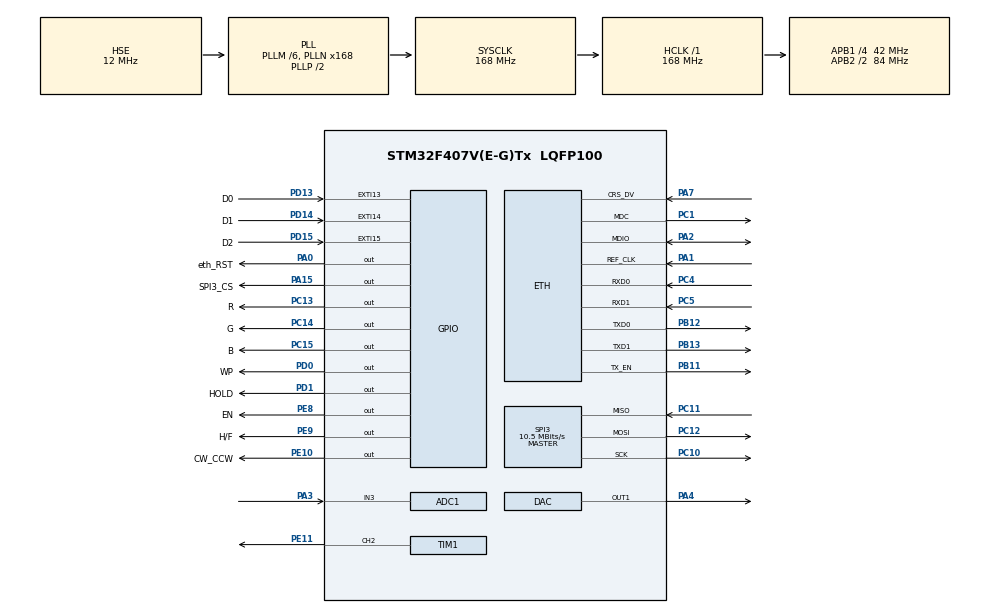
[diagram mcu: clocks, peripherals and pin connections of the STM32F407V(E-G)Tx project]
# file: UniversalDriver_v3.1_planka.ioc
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ADC1.Channel-0\#ChannelRegularConversion=ADC_CHANNEL_3
ADC1.NbrOfConversionFlag=1
ADC1.Rank-0\#ChannelRegularConversion=1
ADC1.SamplingTime-0\#ChannelRegularConversion=ADC_SAMPLETIME_3CYCLES
ADC1.master=1
ETH.MACAddr=44\:84\:23\:84\:44\:77
ETH.MediaInterface=ETH_MEDIA_INTERFACE_RMII
ETH.PhyAddress=0
ETH.RxMode=ETH_RXINTERRUPT_MODE
FREERTOS.Tasks01=mainTask,0,512,MainTask,Default,NULL,Dynamic,NULL,NULL;Motor_pool,0,256,motor_pool,Default,NULL,Dynamic,NULL,NULL;ledTask,0,128,LedTask,Default,NULL,Dynamic,NULL,NULL;MotorAction,0,256,motor_action,Default,NULL,Dynamic,NULL,NULL
LWIP.LWIP_DNS=1
LWIP.Version=v2.1.2_Cube
Mcu.Family=STM32F4
Mcu.Name=STM32F407V(E-G)Tx
Mcu.Package=LQFP100
NVIC.ETH_IRQn=true\:5\:0\:false\:false\:true\:true\:false\:true\:true
NVIC.EXTI15_10_IRQn=true\:5\:0\:false\:false\:true\:true\:true\:true\:true
NVIC.PriorityGroup=NVIC_PRIORITYGROUP_4
NVIC.TIM2_IRQn=true\:5\:0\:false\:false\:true\:true\:true\:true\:true
NVIC.TIM4_IRQn=true\:5\:0\:false\:false\:true\:true\:true\:true\:true
NVIC.TIM6_DAC_IRQn=true\:5\:0\:false\:false\:true\:true\:true\:true\:true
NVIC.TIM7_IRQn=true\:15\:0\:false\:false\:true\:false\:false\:true\:true
NVIC.TimeBase=TIM7_IRQn
NVIC.TimeBaseIP=TIM7
PA0-WKUP.GPIO_Label=eth_RST
PA0-WKUP.Signal=GPIO_Output
PA1.Mode=RMII
PA1.Signal=ETH_REF_CLK
PA13.Mode=Serial_Wire
PA13.Signal=SYS_JTMS-SWDIO
PA14.Mode=Serial_Wire
PA14.Signal=SYS_JTCK-SWCLK
PA15.GPIO_Label=SPI3_CS
PA15.Signal=GPIO_Output
PA2.Mode=RMII
PA2.Signal=ETH_MDIO
PA3.Signal=ADCx_IN3
PA4.Signal=COMP_DAC1_group
PA7.Mode=RMII
PA7.Signal=ETH_CRS_DV
PB11.Mode=RMII
PB11.Signal=ETH_TX_EN
PB12.Mode=RMII
PB12.Signal=ETH_TXD0
PB13.Mode=RMII
PB13.Signal=ETH_TXD1
PC1.Mode=RMII
PC1.Signal=ETH_MDC
PC10.Mode=Full_Duplex_Master
PC10.Signal=SPI3_SCK
PC11.Mode=Full_Duplex_Master
PC11.Signal=SPI3_MISO
PC12.Mode=Full_Duplex_Master
PC12.Signal=SPI3_MOSI
PC13-ANTI_TAMP.GPIO_Label=R
PC13-ANTI_TAMP.Signal=GPIO_Output
PC14-OSC32_IN.GPIO_Label=G
PC14-OSC32_IN.Signal=GPIO_Output
PC15-OSC32_OUT.GPIO_Label=B
PC15-OSC32_OUT.Signal=GPIO_Output
PC4.Mode=RMII
PC4.Signal=ETH_RXD0
PC5.Mode=RMII
PC5.Signal=ETH_RXD1
PD0.GPIO_Label=WP
PD0.Signal=GPIO_Output
PD1.GPIO_Label=HOLD
PD1.Signal=GPIO_Output
PD13.GPIO_Label=D0
PD13.GPIO_ModeDefaultEXTI=GPIO_MODE_IT_FALLING
PD13.GPIO_PuPd=GPIO_PULLDOWN
PD13.Signal=GPXTI13
PD14.GPIO_Label=D1
PD14.GPIO_ModeDefaultEXTI=GPIO_MODE_IT_FALLING
PD14.GPIO_PuPd=GPIO_PULLDOWN
PD14.Signal=GPXTI14
PD15.GPIO_Label=D2
PD15.GPIO_ModeDefaultEXTI=GPIO_MODE_IT_FALLING
PD15.GPIO_PuPd=GPIO_PULLDOWN
PD15.Signal=GPXTI15
PE10.GPIO_Label=CW_CCW
PE10.Signal=GPIO_Output
PE11.Signal=S_TIM1_CH2
PE8.GPIO_Label=EN
PE8.Signal=GPIO_Output
PE9.GPIO_Label=H/F
PE9.Signal=GPIO_Output
PH0-OSC_IN.Mode=HSE-External-Oscillator
PH0-OSC_IN.Signal=RCC_OSC_IN
PH1-OSC_OUT.Mode=HSE-External-Oscillator
PH1-OSC_OUT.Signal=RCC_OSC_OUT
ProjectManager.HeapSize=0x2000
ProjectManager.StackSize=0x4000
ProjectManager.TargetToolchain=STM32CubeIDE
RCC.48MHZClocksFreq_Value=84000000
RCC.AHBFreq_Value=168000000
RCC.APB1CLKDivider=RCC_HCLK_DIV4
RCC.APB1Freq_Value=42000000
RCC.APB1TimFreq_Value=84000000
RCC.APB2CLKDivider=RCC_HCLK_DIV2
RCC.APB2Freq_Value=84000000
RCC.APB2TimFreq_Value=168000000
RCC.CortexFreq_Value=168000000
RCC.HCLKFreq_Value=168000000
RCC.HSE_VALUE=12000000
RCC.HSI_VALUE=16000000
RCC.LSE_VALUE=32768
RCC.PLLM=6
RCC.PLLN=168
RCC.PLLSourceVirtual=RCC_PLLSOURCE_HSE
RCC.SYSCLKFreq_VALUE=168000000
RCC.SYSCLKSource=RCC_SYSCLKSOURCE_PLLCLK
RCC.VCOOutputFreq_Value=336000000
SH.ADCx_IN3.0=ADC1_IN3,IN3
SH.COMP_DAC1_group.0=DAC_OUT1,DAC_OUT1
SH.S_TIM1_CH2.0=TIM1_CH2,Output Compare2 CH2
SPI3.BaudRatePrescaler=SPI_BAUDRATEPRESCALER_4
SPI3.CalculateBaudRate=10.5 MBits/s
SPI3.Direction=SPI_DIRECTION_2LINES
SPI3.Mode=SPI_MODE_MASTER
SPI3.VirtualType=VM_MASTER
TIM1.AutoReloadPreload=TIM_AUTORELOAD_PRELOAD_ENABLE
TIM1.Channel-Output\ Compare2\ CH2=TIM_CHANNEL_2
TIM1.OCMode_2=TIM_OCMODE_TOGGLE
TIM1.Period=12000
TIM1.Prescaler=83
TIM1.Pulse-Output\ Compare2\ CH2=300
TIM1.TIM_MasterOutputTrigger=TIM_TRGO_OC2REF
TIM2.Period=50
TIM2.Prescaler=1
TIM4.Prescaler=1
TIM6.Prescaler=42-1
VP_FREERTOS_VS_CMSIS_V1.Mode=CMSIS_V1
VP_LWIP_VS_Enabled.Mode=Enabled
VP_SYS_VS_tim7.Mode=TIM7
VP_TIM1_VS_ClockSourceINT.Mode=Internal
VP_TIM2_VS_ClockSourceITR.Mode=TriggerSource_ITR0
VP_TIM2_VS_ControllerModeClock.Mode=Clock Mode
VP_TIM4_VS_ClockSourceITR.Mode=TriggerSource_ITR0
VP_TIM4_VS_ControllerModeClock.Mode=Clock Mode
VP_TIM6_VS_ClockSourceINT.Mode=Enable_Timer
board=custom

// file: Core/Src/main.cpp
/* USER CODE BEGIN Header */
/**
 ******************************************************************************
 * @file           : main.c
 * @brief          : Main program body
 ******************************************************************************
 * @attention
 *
 * Copyright (c) 2022 STMicroelectronics.
 * All rights reserved.
 *
 * This software is licensed under terms that can be found in the LICENSE file
 * in the root directory of this software component.
 * If no LICENSE file comes with this software, it is provided AS-IS.
 *
 ******************************************************************************
 */
/* USER CODE END Header */
#include "main.h"
#include "cmsis_os.h"
#include "adc.h"
#include "dac.h"
#include "lwip.h"
#include "spi.h"
#include "tim.h"
#include "gpio.h"

/* USER CODE BEGIN Includes */
#include "motor.hpp"
#include "flash_spi.h"
#include "Delay_us_DWT.h"
#include "LED.h"
/* USER CODE END Includes */

/* USER CODE BEGIN PV */
uint32_t count_tic = 0; //для замеров времени выполнения кода
extern TIM_HandleTypeDef htim3;
//TIM_HandleTypeDef no;

//extern_driver ext_drive(&hdac, DAC_CHANNEL_1, &htim3, &htim1, TIM_CHANNEL_2, &htim6);
step_motor stepper(&hdac, DAC_CHANNEL_1, &htim2, &htim4, &htim1, TIM_CHANNEL_2, &htim6);
//BLDC_motor BLDC(&htim8, &htim1, &htim2, &htim3);
led LED_IPadr;
led LED_error;
led LED_OSstart;

base_motor *pMotor;

/* USER CODE END PV */

void SystemClock_Config(void);
void MX_FREERTOS_Init(void);

int main(void)
{

  /* MCU Configuration--------------------------------------------------------*/

  /* Reset of all peripherals, Initializes the Flash interface and the Systick. */
  HAL_Init();

  /* Configure the system clock */
  SystemClock_Config();

  /* Initialize all configured peripherals */
  MX_GPIO_Init();
  MX_TIM1_Init();
  MX_ADC1_Init();
  MX_DAC_Init();
  MX_SPI3_Init();
  MX_TIM2_Init();
  MX_TIM4_Init();
  MX_TIM6_Init();
  /* USER CODE BEGIN 2 */
	DWT_Init();

	HAL_GPIO_WritePin(eth_RST_GPIO_Port, eth_RST_Pin, GPIO_PIN_RESET);
	HAL_Delay(300);
	HAL_GPIO_WritePin(eth_RST_GPIO_Port, eth_RST_Pin, GPIO_PIN_SET);

	pMotor = &stepper;
	HAL_Delay(500);

	//HAL_TIM_OC_Start(&htim1, TIM_CHANNEL_2);
  /* USER CODE END 2 */

  /* Call init function for freertos objects (in freertos.c) */
  MX_FREERTOS_Init();
  /* Start scheduler */
  osKernelStart();

  /* We should never get here as control is now taken by the scheduler */
  /* Infinite loop */
	while (1)
	{

	}
}

void SystemClock_Config(void)
{
  RCC_OscInitTypeDef RCC_OscInitStruct = {0};
  RCC_ClkInitTypeDef RCC_ClkInitStruct = {0};

  /** Configure the main internal regulator output voltage
  */
  __HAL_RCC_PWR_CLK_ENABLE();
  __HAL_PWR_VOLTAGESCALING_CONFIG(PWR_REGULATOR_VOLTAGE_SCALE1);
  /** Initializes the RCC Oscillators according to the specified parameters
  * in the RCC_OscInitTypeDef structure.
  */
  RCC_OscInitStruct.OscillatorType = RCC_OSCILLATORTYPE_HSE;
  RCC_OscInitStruct.HSEState = RCC_HSE_ON;
  RCC_OscInitStruct.PLL.PLLState = RCC_PLL_ON;
  RCC_OscInitStruct.PLL.PLLSource = RCC_PLLSOURCE_HSE;
  RCC_OscInitStruct.PLL.PLLM = 6;
  RCC_OscInitStruct.PLL.PLLN = 168;
  RCC_OscInitStruct.PLL.PLLP = RCC_PLLP_DIV2;
  RCC_OscInitStruct.PLL.PLLQ = 4;
  if (HAL_RCC_OscConfig(&RCC_OscInitStruct) != HAL_OK)
  {
    Error_Handler();
  }
  /** Initializes the CPU, AHB and APB buses clocks
  */
  RCC_ClkInitStruct.ClockType = RCC_CLOCKTYPE_HCLK|RCC_CLOCKTYPE_SYSCLK
                              |RCC_CLOCKTYPE_PCLK1|RCC_CLOCKTYPE_PCLK2;
  RCC_ClkInitStruct.SYSCLKSource = RCC_SYSCLKSOURCE_PLLCLK;
  RCC_ClkInitStruct.AHBCLKDivider = RCC_SYSCLK_DIV1;
  RCC_ClkInitStruct.APB1CLKDivider = RCC_HCLK_DIV4;
  RCC_ClkInitStruct.APB2CLKDivider = RCC_HCLK_DIV2;

  if (HAL_RCC_ClockConfig(&RCC_ClkInitStruct, FLASH_LATENCY_5) != HAL_OK)
  {
    Error_Handler();
  }
}

/* USER CODE BEGIN 4 */
void HAL_TIM_IC_CaptureCallback(TIM_HandleTypeDef *htim){

}
void ledBlink(){
	//LED_rs485.LEDon(0);
}
/* USER CODE END 4 */

void HAL_TIM_PeriodElapsedCallback(TIM_HandleTypeDef *htim)
{
  /* USER CODE BEGIN Callback 0 */
	if(htim->Instance == TIM2){
		//HAL_TIM_OC_Stop(&htim8, TIM_CHANNEL_4);
		pMotor->StepsHandler(__HAL_TIM_GET_COUNTER(htim)); // __HAL_TIM_GET_COUNTER(htim)
	}
	if(htim->Instance == TIM4){
		//HAL_TIM_OC_Stop(&htim8, TIM_CHANNEL_4);
		pMotor->StepsAllHandler(__HAL_TIM_GET_COUNTER(htim)); //__HAL_TIM_GET_COUNTER(htim)
	}
	if(htim->Instance == TIM6){
		pMotor->AccelHandler();

	}
  /* USER CODE END Callback 0 */
  if (htim->Instance == TIM7) {
    HAL_IncTick();
  }
}

void Error_Handler(void)
{
	__disable_irq();
	while (1)
	{
	}
}
